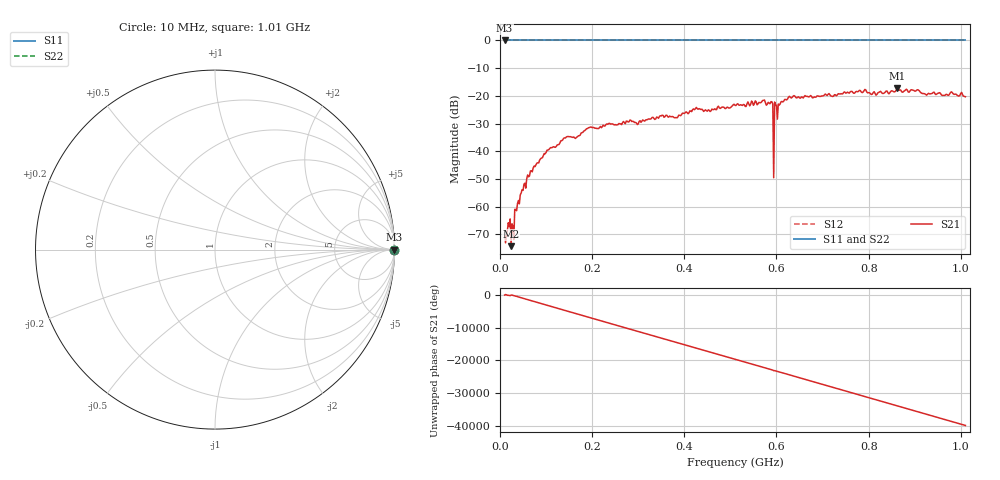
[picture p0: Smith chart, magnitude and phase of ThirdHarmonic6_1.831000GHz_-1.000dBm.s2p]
! 8/16/2025 10:10:45 PM
! C:\ANRITSUVNA\TEMP\TEMP.S2P
! CHANNEL.1
! TR.MEASUREMENT
! RAW.DATA
! RF.CORRECTION.OFF
! AVERAGING.OFF
! IF.BANDWIDTH: 5KHZ
! SWEEPTYPE:  FREQ.SWEEP(Linear)
! Reference Plane Port Info
! PORT:  PORT1  PORT2
! DISTANCE:  0  m  0  m
! TIME:  0  s  0  s
! PHASE.OFFSET:  0  deg.  0  deg.
! LOSS:  0  dB  0  dB
! REF.LOSS:  0  dB  0  dB
! REF.FREQ:  0  Hz  0  Hz
! Power Info
! POWER:  -20  dBm  -20  dBm
! EFF.POWER:  -20  dBm  -20  dBm
! SOURCE.ATTEN:  0  dB  0  dB
! TEST.ATTEN:  0  dB  0  dB
# GHZ S RI R 50.0
! FREQ.GHZ  S11RE  S11IM  S21RE  S21IM  S12RE  S12IM  S22RE  S22IM
!; PortSelection: Port_12
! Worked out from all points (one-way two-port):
!   501 points, 10 MHz to 1.01 GHz, reference 50 ohm
!   highest |S21| = -17.32 dB at 862 MHz (marker M1); lowest = -74.2 dB at 24 MHz (marker M2)
!   lowest |S11| = 0.0 dB at 10 MHz (marker M3)
!   |S11| at or under -10 dB: nowhere
!   |S22| runs from 0.0 to 0.0 dB; largest |S21 - S12| = 1.1
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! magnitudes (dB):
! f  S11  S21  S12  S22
! 10 MHz  0.0  -70.0  0.0  0.0
! 18 MHz  0.0  -65.7  0.0  0.0
! 24 MHz  0.0  -74.2  0.0  0.0
! 28 MHz  0.0  -67.0  0.0  0.0
! 36 MHz  0.0  -61.4  0.0  0.0
! 48 MHz  0.0  -53.8  0.0  0.0
! 76 MHz  0.0  -45.5  0.0  0.0
! 106 MHz  0.0  -39.4  0.0  0.0
! 142 MHz  0.0  -35.2  0.0  0.0
! 178 MHz  0.0  -33.3  0.0  0.0
! 194 MHz  0.0  -31.4  0.0  0.0
! 344 MHz  0.0  -28.1  0.0  0.0
! 510 MHz  0.0  -23.4  0.0  0.0
! 588 MHz  0.0  -22.1  0.0  0.0
! 590 MHz  0.0  -22.1  0.0  0.0
! 598 MHz  0.0  -23.1  0.0  0.0
! 600 MHz  0.0  -23.5  0.0  0.0
! 614 MHz  0.0  -22.2  0.0  0.0
! 678 MHz  0.0  -20.7  0.0  0.0
! 844 MHz  0.0  -19.3  0.0  0.0
! 862 MHz  0.0  -17.3  0.0  0.0
! 1.01 GHz  0.0  -20.3  0.0  0.0
